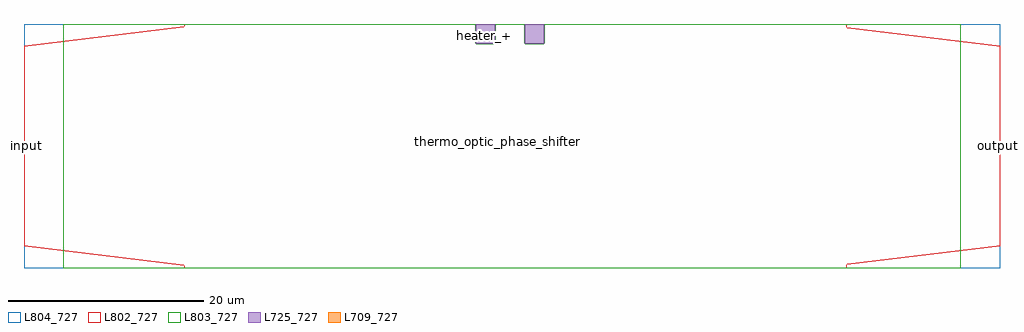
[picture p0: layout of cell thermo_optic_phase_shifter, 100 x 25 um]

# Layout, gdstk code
import gdstk
lib = gdstk.Library(unit=1e-6, precision=1e-09)
def R(c, l, rs):  # rectangles x0, y0, x1, y1
    for r in rs: c.add(gdstk.rectangle(r[:2], r[2:], *l))
def P(c, l, *ps):  # polygons
    for p in ps: c.add(gdstk.Polygon(p, *l))
L709_727 = (709, 727)
L725_727 = (725, 727)
L802_727 = (802, 727)
L803_727 = (803, 727)
L804_727 = (804, 727)

thermo_optic_phase_shift = lib.new_cell('thermo_optic_phase_shifter')
R(thermo_optic_phase_shift, L709_727, [(0,-0.2,0.5,0.2), (99.5,-0.2,100,0.2)])
R(thermo_optic_phase_shift, L725_727, [(46.3,10.499,48.3,12.499), (51.3,10.499,53.3,12.499)])
P(thermo_optic_phase_shift, L802_727, [(16.4,-12.501),(16.4,-12.277),(0,-10.274),(0,-0.2),(0.5,-0.2),(0.5,0.2),(0,0.2),(0,10.272),(16.4,12.275),(16.4,12.499),(84.3,12.499),(84.3,12.189),(100,10.272),(100,0.2),(99.5,0.2),(99.5,-0.2),(100,-0.2),(100,-10.274),(84.3,-12.191),(84.3,-12.501)])
P(thermo_optic_phase_shift, L803_727, [(4,-12.501),(4,12.499),(46.3,12.499),(46.3,10.499),(48.3,10.499),(48.3,12.499),(51.3,12.499),(51.3,10.499),(53.3,10.499),(53.3,12.499),(96,12.499),(96,-12.501)])
R(thermo_optic_phase_shift, L804_727, [(0,-12.501,100,12.499)])
thermo_optic_phase_shift.add(gdstk.FlexPath([(0.5,0),(99.5,0)], 0.6, ends="flush", simple_path=True, layer=804, datatype=727))  # L804_727
thermo_optic_phase_shift.add(gdstk.Label('thermo_optic_phase_shifter', (48.532,0.463), layer=709, texttype=728))
thermo_optic_phase_shift.add(gdstk.Label('input', (0.264,0.008), layer=709, texttype=728))
thermo_optic_phase_shift.add(gdstk.Label('output', (99.824,0.008), layer=709, texttype=728))
thermo_optic_phase_shift.add(gdstk.Label('heater_+', (47.219,11.281), layer=725, texttype=728))
thermo_optic_phase_shift.add(gdstk.Label('heater_-', (52.048,11.281), layer=725, texttype=728))

lib.write_gds('thermo_optic_phase_shifter.gds')
